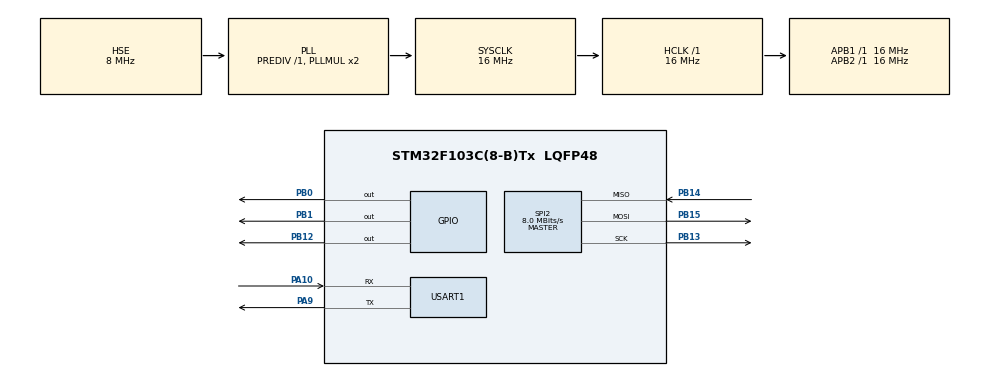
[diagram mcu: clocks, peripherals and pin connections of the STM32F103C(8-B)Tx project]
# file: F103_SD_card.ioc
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Dma.Request0=USART1_RX
Dma.USART1_RX.0.Direction=DMA_PERIPH_TO_MEMORY
Dma.USART1_RX.0.Instance=DMA1_Channel5
Dma.USART1_RX.0.MemDataAlignment=DMA_MDATAALIGN_BYTE
Dma.USART1_RX.0.MemInc=DMA_MINC_ENABLE
Dma.USART1_RX.0.Mode=DMA_NORMAL
Dma.USART1_RX.0.PeriphDataAlignment=DMA_PDATAALIGN_BYTE
Dma.USART1_RX.0.PeriphInc=DMA_PINC_DISABLE
Dma.USART1_RX.0.Priority=DMA_PRIORITY_LOW
FATFS._MAX_SS=4096
FATFS._USE_LFN=1
Mcu.Family=STM32F1
Mcu.Name=STM32F103C(8-B)Tx
Mcu.Package=LQFP48
NVIC.DMA1_Channel5_IRQn=true\:0\:0\:false\:false\:true\:false\:true\:true
NVIC.PriorityGroup=NVIC_PRIORITYGROUP_4
PA10.GPIO_Mode=GPIO_MODE_INPUT
PA10.Mode=Asynchronous
PA10.Signal=USART1_RX
PA9.Mode=Asynchronous
PA9.Signal=USART1_TX
PB0.Signal=GPIO_Output
PB1.Signal=GPIO_Output
PB12.Signal=GPIO_Output
PB13.Mode=Full_Duplex_Master
PB13.Signal=SPI2_SCK
PB14.Mode=Full_Duplex_Master
PB14.Signal=SPI2_MISO
PB15.Mode=Full_Duplex_Master
PB15.Signal=SPI2_MOSI
PD0-OSC_IN.Mode=HSE-External-Oscillator
PD0-OSC_IN.Signal=RCC_OSC_IN
PD1-OSC_OUT.Mode=HSE-External-Oscillator
PD1-OSC_OUT.Signal=RCC_OSC_OUT
ProjectManager.HeapSize=0x200
ProjectManager.StackSize=0x400
ProjectManager.TargetToolchain=STM32CubeIDE
RCC.AHBFreq_Value=16000000
RCC.APB1Freq_Value=16000000
RCC.APB1TimFreq_Value=16000000
RCC.APB2Freq_Value=16000000
RCC.APB2TimFreq_Value=16000000
RCC.HCLKFreq_Value=16000000
RCC.PLLSourceVirtual=RCC_PLLSOURCE_HSE
RCC.SYSCLKFreq_VALUE=16000000
RCC.SYSCLKSource=RCC_SYSCLKSOURCE_PLLCLK
RCC.USBFreq_Value=16000000
SPI2.CalculateBaudRate=8.0 MBits/s
SPI2.Direction=SPI_DIRECTION_2LINES
SPI2.Mode=SPI_MODE_MASTER
SPI2.VirtualType=VM_MASTER
USART1.VirtualMode=VM_ASYNC
VP_FATFS_VS_Generic.Mode=User_defined
VP_SYS_VS_ND.Mode=No_Debug
board=custom

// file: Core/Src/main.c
/* USER CODE BEGIN Header */
/**
  ******************************************************************************
  * @file           : main.c
  * @brief          : Main program body
  ******************************************************************************
  * @attention
  *
  * Copyright (c) 2023 STMicroelectronics.
  * All rights reserved.
  *
  * This software is licensed under terms that can be found in the LICENSE file
  * in the root directory of this software component.
  * If no LICENSE file comes with this software, it is provided AS-IS.
  *
  ******************************************************************************
  */
/* USER CODE END Header */
#include "main.h"
#include "fatfs.h"

/* USER CODE BEGIN Includes */
#include <stdio.h>
#include <string.h>
#include <stdbool.h>
#include <stdlib.h>

/* USER CODE END Includes */

/* USER CODE BEGIN PM */
uint8_t UART2_RX_Buffer[32] = {0};
uint8_t read_from_nucleo[32];
char send_to_nucleo_Y1[32];
char send_to_nucleo_Y2[32];
char send_to_nucleo_Y3[32];
char send_to_nucleo_Y4[32];
char send_to_nucleo_Y5[32];
double foodFresh=100;
double waterFresh=100;
int received=0;
int changed_tank=0;
uint8_t send_warning[32];
uint8_t empty[32];
FATFS       FatFs;                //Fatfs handle
FIL         fil;                  //File handle
FRESULT     fres;                 //Result after operations

/* USER CODE END PM */

SPI_HandleTypeDef hspi2;

UART_HandleTypeDef huart1;
DMA_HandleTypeDef hdma_usart1_rx;

void SystemClock_Config(void);
static void MX_GPIO_Init(void);
static void MX_DMA_Init(void);
static void MX_SPI2_Init(void);
static void MX_USART1_UART_Init(void);
/* USER CODE BEGIN PFP */
void example_process_SD_card(void);

FRESULT write_SD_card(
		const uint8_t* wr_text,
	    FIL* fp,            /* [OUT] File object to create */
	    const char* path    /* [IN]  File name to be opened */
);
void get_warning(uint8_t* send_warning);
FRESULT read_last_5_line_SD_card(
		const char* rd_text1,
		const char* rd_text2,
		const char* rd_text3,
		const char* rd_text4,
		const char* rd_text5,
	    FIL* fp,            /* [OUT] File object to create */
	    const char* path    /* [IN]  File name to be opened */
);
FRESULT open_append (
    FIL* fp,            /* [OUT] File object to create */
    const char* path    /* [IN]  File name to be opened */
);
FRESULT read_whole_SD(
		const char* rd_text,
	    FIL* fp,            /* [OUT] File object to create */
	    const char* path    /* [IN]  File name to be opened */
);

/* USER CODE END PFP */

int main(void)
{
  /* USER CODE BEGIN 1 */
	for (int i=0; i++; i<32){
		send_warning[i]=0x20; // configure the default character as space characters
	}

//	//delay method
//	for(int i = 0; i < 200; i++){
//		for(int j = 0; j < 1000; j++){}
//	}

  /* USER CODE END 1 */

  /* MCU Configuration--------------------------------------------------------*/

  /* Reset of all peripherals, Initializes the Flash interface and the Systick. */
  HAL_Init();

  /* Configure the system clock */
  SystemClock_Config();

  /* Initialize all configured peripherals */
  MX_GPIO_Init();
  MX_DMA_Init();
  MX_SPI2_Init();
  MX_USART1_UART_Init();
  MX_FATFS_Init();
  /* USER CODE BEGIN 2 */
  HAL_UART_Receive_DMA(&huart1, read_from_nucleo, 32);

  /* USER CODE END 2 */

  /* Infinite loop */
  /* USER CODE BEGIN WHILE */

//	  get_warning(send_warning);

  while (1)
  {
	  if (received==1){
		  get_warning(send_warning); // every time Blue pill receive data from Nulceo, it will recalcuate warning array
		  received=0;
	  }

    /* USER CODE END WHILE */

  }
}

void SystemClock_Config(void)
{
  RCC_OscInitTypeDef RCC_OscInitStruct = {0};
  RCC_ClkInitTypeDef RCC_ClkInitStruct = {0};

  /** Initializes the RCC Oscillators according to the specified parameters
  * in the RCC_OscInitTypeDef structure.
  */
  RCC_OscInitStruct.OscillatorType = RCC_OSCILLATORTYPE_HSE;
  RCC_OscInitStruct.HSEState = RCC_HSE_ON;
  RCC_OscInitStruct.HSEPredivValue = RCC_HSE_PREDIV_DIV1;
  RCC_OscInitStruct.HSIState = RCC_HSI_ON;
  RCC_OscInitStruct.PLL.PLLState = RCC_PLL_ON;
  RCC_OscInitStruct.PLL.PLLSource = RCC_PLLSOURCE_HSE;
  RCC_OscInitStruct.PLL.PLLMUL = RCC_PLL_MUL2;
  if (HAL_RCC_OscConfig(&RCC_OscInitStruct) != HAL_OK)
  {
    Error_Handler();
  }

  /** Initializes the CPU, AHB and APB buses clocks
  */
  RCC_ClkInitStruct.ClockType = RCC_CLOCKTYPE_HCLK|RCC_CLOCKTYPE_SYSCLK
                              |RCC_CLOCKTYPE_PCLK1|RCC_CLOCKTYPE_PCLK2;
  RCC_ClkInitStruct.SYSCLKSource = RCC_SYSCLKSOURCE_PLLCLK;
  RCC_ClkInitStruct.AHBCLKDivider = RCC_SYSCLK_DIV1;
  RCC_ClkInitStruct.APB1CLKDivider = RCC_HCLK_DIV1;
  RCC_ClkInitStruct.APB2CLKDivider = RCC_HCLK_DIV1;

  if (HAL_RCC_ClockConfig(&RCC_ClkInitStruct, FLASH_LATENCY_0) != HAL_OK)
  {
    Error_Handler();
  }
}

static void MX_SPI2_Init(void)
{

  /* SPI2 parameter configuration*/
  hspi2.Instance = SPI2;
  hspi2.Init.Mode = SPI_MODE_MASTER;
  hspi2.Init.Direction = SPI_DIRECTION_2LINES;
  hspi2.Init.DataSize = SPI_DATASIZE_8BIT;
  hspi2.Init.CLKPolarity = SPI_POLARITY_LOW;
  hspi2.Init.CLKPhase = SPI_PHASE_1EDGE;
  hspi2.Init.NSS = SPI_NSS_SOFT;
  hspi2.Init.BaudRatePrescaler = SPI_BAUDRATEPRESCALER_2;
  hspi2.Init.FirstBit = SPI_FIRSTBIT_MSB;
  hspi2.Init.TIMode = SPI_TIMODE_DISABLE;
  hspi2.Init.CRCCalculation = SPI_CRCCALCULATION_DISABLE;
  hspi2.Init.CRCPolynomial = 10;
  if (HAL_SPI_Init(&hspi2) != HAL_OK)
  {
    Error_Handler();
  }

}

static void MX_USART1_UART_Init(void)
{

  huart1.Instance = USART1;
  huart1.Init.BaudRate = 115200;
  huart1.Init.WordLength = UART_WORDLENGTH_8B;
  huart1.Init.StopBits = UART_STOPBITS_1;
  huart1.Init.Parity = UART_PARITY_NONE;
  huart1.Init.Mode = UART_MODE_TX_RX;
  huart1.Init.HwFlowCtl = UART_HWCONTROL_NONE;
  huart1.Init.OverSampling = UART_OVERSAMPLING_16;
  if (HAL_UART_Init(&huart1) != HAL_OK)
  {
    Error_Handler();
  }

}

static void MX_DMA_Init(void)
{

  /* DMA controller clock enable */
  __HAL_RCC_DMA1_CLK_ENABLE();

  /* DMA interrupt init */
  /* DMA1_Channel5_IRQn interrupt configuration */
  HAL_NVIC_SetPriority(DMA1_Channel5_IRQn, 0, 0);
  HAL_NVIC_EnableIRQ(DMA1_Channel5_IRQn);

}

static void MX_GPIO_Init(void)
{
  GPIO_InitTypeDef GPIO_InitStruct = {0};

  /* GPIO Ports Clock Enable */
  __HAL_RCC_GPIOD_CLK_ENABLE();
  __HAL_RCC_GPIOB_CLK_ENABLE();
  __HAL_RCC_GPIOA_CLK_ENABLE();

  /*Configure GPIO pin Output Level */
  HAL_GPIO_WritePin(GPIOB, GPIO_PIN_0|GPIO_PIN_1|GPIO_PIN_12, GPIO_PIN_RESET);

  /*Configure GPIO pins : PB0 PB1 PB12 */
  GPIO_InitStruct.Pin = GPIO_PIN_0|GPIO_PIN_1|GPIO_PIN_12;
  GPIO_InitStruct.Mode = GPIO_MODE_OUTPUT_PP;
  GPIO_InitStruct.Pull = GPIO_NOPULL;
  GPIO_InitStruct.Speed = GPIO_SPEED_FREQ_LOW;
  HAL_GPIO_Init(GPIOB, &GPIO_InitStruct);

}

/* USER CODE BEGIN 4 */
#ifdef __GNUC__
  /* With GCC, small printf (option LD Linker->Libraries->Small printf
     set to 'Yes') calls __io_putchar() */
int __io_putchar(int ch)
#else
int fputc(int ch, FILE *f)
#endif /* __GNUC__ */
{
  /* Place your implementation of fputc here */
  /* e.g. write a character to the UART3 and Loop until the end of transmission */
  HAL_UART_Transmit(&huart1, (uint8_t *)&ch, 1, HAL_MAX_DELAY);
  return ch;
}

void HAL_Delay(__IO uint32_t Delay)
{
//  uint32_t tickstart = 0;
//  uwTick = 65530;   //
//  tickstart = HAL_GetTick();
//  while((HAL_GetTick() - tickstart) < Delay)
//  {
//  }
}

void HAL_UART_RxCpltCallback(UART_HandleTypeDef *huart)
{
	HAL_GPIO_WritePin(GPIOB, GPIO_PIN_0, 0);
	HAL_GPIO_WritePin(GPIOB, GPIO_PIN_1, 0);

	uint8_t ack[32]="Ack456789012345678901234567890\n\0";

	HAL_UART_Transmit(&huart1, ack, 32, 400);
//    HAL_UART_Transmit(&huart1, read_from_nucleo, strlen((char*)read_from_nucleo), 400);
//    HAL_UART_Transmit(&huart1, read_from_nucleo, 32, 400); //32: strlen((char*)read_from_nucleo)
//    HAL_UART_Transmit(&huart1, "\nCallback", strlen("\nCallback"), HAL_MAX_DELAY);

    //Open the file and will write append to the end of the file
	FRESULT fr;
	UINT br, bw;         /* File read/write count */
	char buffer[8];   /* File copy buffer */

	//	fr = open_append(fp, path);

	/* Opens an existing file. If not exist, creates a new file. */
	fr = f_open(&fil, "test.txt",  FA_READ | FA_WRITE | FA_OPEN_ALWAYS);

	if (read_from_nucleo[0]=='*'){
		changed_tank=1;
	}
    if (read_from_nucleo[0]=='$'){ // write append SD card
    	uint8_t ack[32]="Ack$ 6789012345678901234567890\n\0";

    	//	write_SD_card(read_from_nucleo,&fil,"test.txt");
    	received=1;
    	if (fr == FR_OK) {
			/* Seek to end of the file to append data */
			fr = f_lseek(&fil, f_size(&fil));
			if (fr != FR_OK)
				f_close(&fil);
		}
		if(fr != FR_OK)
		{
		printf("File creation/open Error : (%i)\r\n", fr);
		}
		printf("Writing data!!!\r\n");
		char char_read_from_nucleo[32];
		for (int i = 0; i < sizeof(read_from_nucleo); i++) {
			char_read_from_nucleo[i] = (char)(read_from_nucleo[i]);
		}
		//write the data
		f_puts(char_read_from_nucleo, &fil);

		//close your file
		f_close(&fil);
    }
    else if (read_from_nucleo[1]=='$'){ // in case that '\0' leads the read_from_nucleo
		//	write_SD_card(read_from_nucleo,&fil,"test.txt");

		if (fr == FR_OK) {
			/* Seek to end of the file to append data */
			fr = f_lseek(&fil, f_size(&fil));
			if (fr != FR_OK)
				f_close(&fil);
		}
		if(fr != FR_OK)
		{
		printf("File creation/open Error : (%i)\r\n", fr);
		}
		printf("Writing data!!!\r\n");
		char char_read_from_nucleo[32];
		for (int i = 1; i < sizeof(read_from_nucleo); i++) {
			char_read_from_nucleo[i-1] = (char)(read_from_nucleo[i]);
		}
		char_read_from_nucleo[31]='\0';
		//write the data
		f_puts(char_read_from_nucleo, &fil);

		//close your file
		f_close(&fil);
	}
    else if (read_from_nucleo[0]=="%"){ // read one line of data (for 1 day) from SD card
    	uint8_t ack[32]="Ack% 6789012345678901234567890\n\0";
		HAL_UART_Transmit(&huart1, send_warning, 32, 400);
	    	HAL_UART_Transmit(&huart1, send_to_nucleo_Y1, 32, 400);
		HAL_UART_Transmit(&huart1, send_to_nucleo_Y2, 32, 400);
		HAL_UART_Transmit(&huart1, send_to_nucleo_Y3, 32, 400);
		HAL_UART_Transmit(&huart1, send_to_nucleo_Y4, 32, 400);
		HAL_UART_Transmit(&huart1, send_to_nucleo_Y5, 32, 400);

    }

    HAL_UART_Receive_DMA(&huart1, read_from_nucleo, 32); // restart the DMA receive
}

void get_warning(uint8_t* send_warning){
	FRESULT fr;
	fr=read_last_5_line_SD_card(send_to_nucleo_Y1,send_to_nucleo_Y2,send_to_nucleo_Y3,send_to_nucleo_Y4,send_to_nucleo_Y5, &fil,"test.txt");

	char tp[4];
	tp[3]='\0';

	float temp1;
	float temp2;
	float temp3;
	float temp4;
	float temp5;

	float humd1;
	float humd2;
	float humd3;
	float humd4;
	float humd5;

	float water1;
	float water2;
	float water3;
	float water4;
	float water5;

	// Calculate to determine if we need to change the WATER or food in tank
	for (int i = 0; i < 3 ; i++) {
		tp[i] = send_to_nucleo_Y1[i+1];
	}
	temp1=(float)(atoi(tp))/10;
	for (int i = 0; i < 3 ; i++) {
		tp[i] = send_to_nucleo_Y2[i+1];
	}
	temp2=(float)(atoi(tp))/10;
	for (int i = 0; i < 3 ; i++) {
		tp[i] = send_to_nucleo_Y3[i+1];
	}
	temp3=(float)(atoi(tp))/10;
	for (int i = 0; i < 3 ; i++) {
		tp[i] = send_to_nucleo_Y4[i+1];
	}
	temp4=(float)(atoi(tp))/10;
	for (int i = 0; i < 3 ; i++) {
		tp[i] = send_to_nucleo_Y5[i+1];
	}
	temp5=(float)(atoi(tp))/10;
// 	float avg_temp=(temp1+temp2+temp3+temp4+temp5)/5;

	for (int i = 0; i < 3 ; i++) {
		tp[i] = send_to_nucleo_Y1[i+5];
	}
	humd1=(float)(atoi(tp))/10;
	for (int i = 0; i < 3 ; i++) {
		tp[i] = send_to_nucleo_Y2[i+5];
	}
	humd2=(float)(atoi(tp))/10;
	for (int i = 0; i < 3 ; i++) {
		tp[i] = send_to_nucleo_Y3[i+5];
	}
	humd3=(float)(atoi(tp))/10;
	for (int i = 0; i < 3 ; i++) {
		tp[i] = send_to_nucleo_Y4[i+5];
	}
	humd4=(float)(atoi(tp))/10;
	for (int i = 0; i < 3 ; i++) {
		tp[i] = send_to_nucleo_Y5[i+5];
	}
	humd5=(float)(atoi(tp))/10;

	waterFresh = floor((waterFresh - ((temp1 + 40)*(temp1 + 40)/60.0))*10) / 10.0;
	waterFresh = floor((waterFresh - ((temp2 + 40)*(temp2 + 40)/60.0))*10) / 10.0;
	waterFresh = floor((waterFresh - ((temp3 + 40)*(temp3 + 40)/60.0))*10) / 10.0;
	waterFresh = floor((waterFresh - ((temp4 + 40)*(temp4 + 40)/60.0))*10) / 10.0;
	waterFresh = floor((waterFresh - ((temp5 + 40)*(temp5 + 40)/60.0))*10) / 10.0;

	foodFresh = floor((foodFresh - ((temp1 + 40)*(temp1 + 40)*(humd1 + 50) / 20000.0))*10)/10.0;
	foodFresh = floor((foodFresh - ((temp2 + 40)*(temp2 + 40)*(humd2 + 50) / 20000.0))*10)/10.0;
	foodFresh = floor((foodFresh - ((temp3 + 40)*(temp3 + 40)*(humd3 + 50) / 20000.0))*10)/10.0;
	foodFresh = floor((foodFresh - ((temp4 + 40)*(temp4 + 40)*(humd4 + 50) / 20000.0))*10)/10.0;
	foodFresh = floor((foodFresh - ((temp5 + 40)*(temp5 + 40)*(humd5 + 50) / 20000.0))*10)/10.0;

	if (foodFresh<0){
		send_warning[0]='T';
	}
	else {
		send_warning[0]='F';
	}
	if (waterFresh<0){
		send_warning[1]='T';
	}
	else {
		send_warning[1]='F';
	}
	if (changed_tank=1){
		if (foodFresh<0){
			foodFresh=100;
		}
		if (waterFresh<0){
			waterFresh=100;
		}
		changed_tank=0;
	}

	// Calculate to determine giving DRINGKING too little water WANING
	char tp2[6];
	tp2[5]='\0';
	char tp3[5];
	tp3[4]='\0';
	float pet_weight;
	for (int i = 0; i < 6 ; i++) {
		tp2[i] = send_to_nucleo_Y1[i+19];
	}
	pet_weight=(float)(atoi(tp2))/10;
	float std_drink_water;
	std_drink_water=5*50*pet_weight/1000; //unit is ml

	for (int i = 0; i < 4 ; i++) {
		tp3[i] = send_to_nucleo_Y1[i+14];
	}
	water1=(float)(atoi(tp3))/10;
	for (int i = 0; i < 4 ; i++) {
		tp3[i] = send_to_nucleo_Y2[i+14];
	}
	water2=(float)(atoi(tp3))/10;
	for (int i = 0; i < 4 ; i++) {
		tp3[i] = send_to_nucleo_Y3[i+14];
	}
	water3=(float)(atoi(tp3))/10;
	for (int i = 0; i < 4 ; i++) {
		tp3[i] = send_to_nucleo_Y4[i+14];
	}
	water4=(float)(atoi(tp3))/10;
	for (int i = 0; i < 4 ; i++) {
		tp3[i] = send_to_nucleo_Y5[i+14];
	}
	water5=(float)(atoi(tp3))/10;

	float all_water_drunk=water1+water2+water3+water4+water5;
	if (all_water_drunk<std_drink_water){
		send_warning[2]='T';
	}
	else {
		send_warning[2]='F';
	}

	// Calculate to determine giving EATING too MUCH food WANING
	float std_eat_food=pet_weight*0.03;

	float food1;
	for (int i = 0; i < 4 ; i++) {
		tp3[i] = send_to_nucleo_Y1[i+9];
	}
	food1=(float)(atoi(tp3))/10;
	if (food1<std_eat_food){
		send_warning[3]='T';
	}
	else{
		send_warning[3]='F';
	}

	// Calculate to determine giving EATING too LITTLE food WANING
	float stdmore_eat_food=pet_weight*0.05;

	if (food1>stdmore_eat_food){
		send_warning[4]='T';
	}
	else{
		send_warning[4]='F';
	}
	send_warning[5]='\n';
	send_warning[31]='\0';
}

FRESULT read_last_5_line_SD_card(
		const char* rd_text1,
		const char* rd_text2,
		const char* rd_text3,
		const char* rd_text4,
		const char* rd_text5,
		FIL* fp,            /* [OUT] File object to create */
	    const char* path    /* [IN]  File name to be opened */
)
{
	// Mount the SD Card
	fres = f_mount(&FatFs, "", 1);    //1=mount now
	if (fres != FR_OK)
	{
	  printf("No SD Card found : (%i)\r\n", fres);
	}
	//Open the file and will write append to the end of the file
    FRESULT fr;
//    UINT br, bw;         /* File read/write count */

    /* Opens an existing file and read it. */
    fr = f_open(fp, path, FA_READ);
    if (fr == FR_OK) {
        /* Seek to last line of the file to read last line of data */
        fr = f_lseek(fp, f_size(fp)-32);
        if (fr != FR_OK)
            f_close(fp);
    }

	//read the data
    f_gets(rd_text1, 32, fp);

	/* Seek to last 2nd line of the file to read last line of data */
	fr = f_lseek(fp, f_tell(fp)-64);
	if (fr == FR_OK){
		f_gets(rd_text2, 32, fp);
	}

	/* Seek to last 3rd line of the file to read last line of data */
	fr = f_lseek(fp, f_tell(fp)-96);
	if (fr == FR_OK){
		f_gets(rd_text3, 32, fp);
	}

	/* Seek to last 4th line of the file to read last line of data */
	fr = f_lseek(fp, f_tell(fp)-128);
	if (fr == FR_OK){
		f_gets(rd_text4, 32, fp);
	}
	/* Seek to last 5th line of the file to read last line of data */
	fr = f_lseek(fp, f_tell(fp)-160);
	if (fr == FR_OK){
		f_gets(rd_text5, 32, fp);
	}

	//close your file
	f_close(fp);
	//We're done, so de-mount the drive
	f_mount(NULL, "", 0);

	return fr;
}

FRESULT read_whole_SD(
		const char* rd_text,
	    FIL* fp,            /* [OUT] File object to create */
	    const char* path    /* [IN]  File name to be opened */
)
{
	// Mount the SD Card
	fres = f_mount(&FatFs, "", 1);    //1=mount now
	if (fres != FR_OK)
	{
	  printf("No SD Card found : (%i)\r\n", fres);
	}
	//Open the file and will write append to the end of the file
    FRESULT fr;
    UINT br;         /* File read count */

    /* Opens an existing file. If not exist, creates a new file. */
    fr = f_open(fp, path, FA_READ);

	if(fr != FR_OK)
	{
	printf("File creation/open Error : (%i)\r\n", fr);
	}

	printf("Read data!!!\r\n");
	//read the data
//	f_gets(rd_text, sizeof rd_text, fp);
    fr = f_read(fp, rd_text, sizeof rd_text, &br); /* Read a chunk of data from the source file */

	//close your file
	f_close(fp);
	//We're done, so de-mount the drive
	f_mount(NULL, "", 0);

	return fr;
}

FRESULT write_SD_card(
		const uint8_t* wr_text,
	    FIL* fp,            /* [OUT] File object to create */
	    const char* path    /* [IN]  File name to be opened */
)
{
	// Mount the SD Card
	fres = f_mount(&FatFs, "", 1);    //1=mount now
	if (fres != FR_OK)
	{
	  printf("No SD Card found : (%i)\r\n", fres);
	}
	//Open the file and will write append to the end of the file
    FRESULT fr;

//	fr = open_append(fp, path);

    /* Opens an existing file. If not exist, creates a new file. */
    fr = f_open(fp, path, FA_WRITE | FA_OPEN_ALWAYS);
    if (fr == FR_OK) {
        /* Seek to end of the file to append data */
        fr = f_lseek(fp, f_size(fp));
        if (fr != FR_OK)
            f_close(fp);
    }
	if(fr != FR_OK)
	{
	printf("File creation/open Error : (%i)\r\n", fr);
	}

	printf("Writing data!!!\r\n");

	char char_wr_text[32];
	int size=sizeof(wr_text);
	for (int i = 0; i < 32; i++) {
		char_wr_text[i] = (char)(wr_text[i]);
	}
	//write the data
	f_puts(char_wr_text, fp);

	//close your file
	f_close(fp);
	//We're done, so de-mount the drive
	f_mount(NULL, "", 0);
	return fr;
}

/*------------------------------------------------------------/
/ Open or create a file in append mode
/ (This function was sperseded by FA_OPEN_APPEND flag at FatFs R0.12a)
/------------------------------------------------------------*/

FRESULT open_append (
    FIL* fp,            /* [OUT] File object to create */
    const char* path    /* [IN]  File name to be opened */
)
{
    FRESULT fr;

    /* Opens an existing file. If not exist, creates a new file. */
    fr = f_open(fp, path, FA_WRITE | FA_OPEN_ALWAYS);
    if (fr == FR_OK) {
        /* Seek to end of the file to append data */
        fr = f_lseek(fp, f_size(fp));
        if (fr != FR_OK)
            f_close(fp);
    }
    return fr;
}

void example_process_SD_card( void )
{
  FATFS       FatFs;                //Fatfs handle
  FIL         fil;                  //File handle
  FRESULT     fres;                 //Result after operations
  char        buf[100];

  do
  {
    //Mount the SD Card
    fres = f_mount(&FatFs, "", 1);    //1=mount now
    if (fres != FR_OK)
    {
      printf("No SD Card found : (%i)\r\n", fres);
      break;
    }
    printf("SD Card Mounted Successfully!!!\r\n");

    //Read the SD Card Total size and Free Size
    FATFS *pfs;
    DWORD fre_clust;
    uint32_t totalSpace, freeSpace;

    f_getfree("", &fre_clust, &pfs);
//    totalSpace = (uint32_t)((pfs->n_fatent - 2) * pfs->csize * 0.5);
//    freeSpace = (uint32_t)(fre_clust * pfs->csize * 0.5);

    printf("TotalSpace : %lu bytes, FreeSpace = %lu bytes\n", totalSpace, freeSpace);

    //Open the file
    fres = f_open(&fil, "EmbeTronicX.txt", FA_WRITE | FA_READ | FA_CREATE_ALWAYS);
    if(fres != FR_OK)
    {
      printf("File creation/open Error : (%i)\r\n", fres);
      break;
    }

    printf("Writing data!!!\r\n");
    //write the data
    f_puts("Welcome to EmbeTronicX", &fil);

    //close your file
    f_close(&fil);

    //Open the file
    fres = f_open(&fil, "EmbeTronicX.txt", FA_READ);
    if(fres != FR_OK)
    {
      printf("File opening Error : (%i)\r\n", fres);
      break;
    }

    //read the data
    f_gets(buf, sizeof(buf), &fil);

    printf("Read Data : %s\n", buf);

    //close your file
    f_close(&fil);
    printf("Closing File!!!\r\n");
#if 0
    //Delete the file.
    fres = f_unlink(EmbeTronicX.txt);
    if (fres != FR_OK)
    {
      printf("Cannot able to delete the file\n");
    }
#endif
  } while( false );

  //We're done, so de-mount the drive
  f_mount(NULL, "", 0);
  printf("SD Card Unmounted Successfully!!!\r\n");
}

/* USER CODE END 4 */

void Error_Handler(void)
{
  __disable_irq();
  while (1)
  {
  }
}
